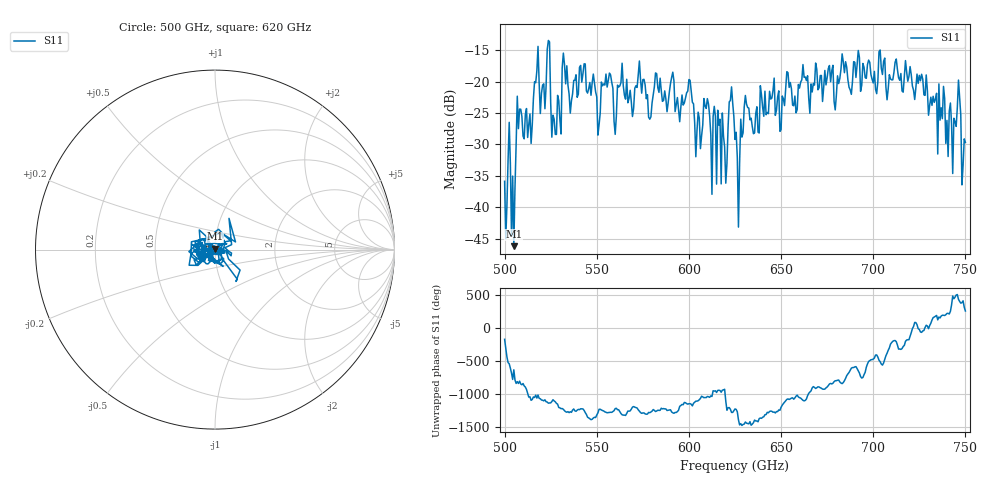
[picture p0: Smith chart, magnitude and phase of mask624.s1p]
!Created with skrf (http://scikit-rf.org).
# GHz S MA R 50.0
!freq magS11 angS11
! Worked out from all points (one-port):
!   401 points, 500 GHz to 750 GHz, reference 50 ohm
!   lowest |S11| = -46.2 dB at 505 GHz (marker M1), VSWR 1.01, Z = 50 + j0.491 ohm
!   |S11| at or under -10 dB: start of sweep to end of sweep
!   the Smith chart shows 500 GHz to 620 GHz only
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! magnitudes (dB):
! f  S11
! 500 GHz  -35.9
! 503.1 GHz  -33.1
! 505 GHz  -46.2
! 508.1 GHz  -24.4
! 513.8 GHz  -25.1
! 516.9 GHz  -20.2
! 520.6 GHz  -20.5
! 523.8 GHz  -13.5
! 526.9 GHz  -26.0
! 531.2 GHz  -17.8
! 542.5 GHz  -18.7
! 550.6 GHz  -28.5
! 562.5 GHz  -20.7
! 593.8 GHz  -22.5
! 600 GHz  -19.7
! 605 GHz  -24.9
! 609.4 GHz  -24.3
! 618.8 GHz  -28.7
! 622.5 GHz  -23.0
! 625 GHz  -29.2
! 626.2 GHz  -32.1
! 631.2 GHz  -23.6
! 656.2 GHz  -23.8
! 687.5 GHz  -21.3
! 718.8 GHz  -19.9
! 741.9 GHz  -23.4
! 746.2 GHz  -19.8
! 750 GHz  -29.7
